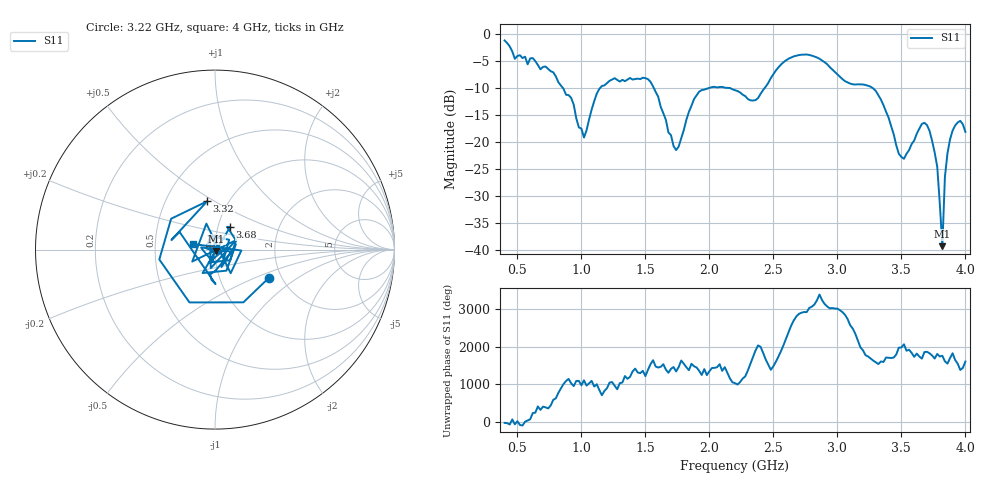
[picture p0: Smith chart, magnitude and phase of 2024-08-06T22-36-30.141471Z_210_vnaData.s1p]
!Created with skrf (http://scikit-rf.org).
# Hz S RI R 50.0
!freq ReS11 ImS11
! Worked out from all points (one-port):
!   181 points, 400 MHz to 4 GHz, reference 50 ohm
!   lowest |S11| = -39.3 dB at 3.82 GHz (marker M1), VSWR 1.02, Z = 50.8 - j0.744 ohm
!   |S11| at or under -10 dB: 857.1 MHz to 1.144 GHz (287.1 MHz wide, 28.7 % of centre); 1.567 GHz to 1.99 GHz (423.4 MHz wide, 23.8 % of centre); 3.278 GHz to end of sweep (the widest 3 of 4)
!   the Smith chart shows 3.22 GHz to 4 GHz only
!   S11 on the Smith chart (normalised r, x): 3.22 GHz: 1.72, -0.61; 3.32 GHz: 0.80, +0.46; 3.68 GHz: 1.14, +0.29; 4 GHz: 0.78, +0.05
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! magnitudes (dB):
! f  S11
! 400 MHz  -1.1
! 480 MHz  -4.5
! 620 MHz  -4.4
! 860 MHz  -10.1
! 1.02 GHz  -19.1
! 1.14 GHz  -10.1
! 1.3 GHz  -8.8
! 1.54 GHz  -8.8
! 1.72 GHz  -20.7
! 1.76 GHz  -20.8
! 1.92 GHz  -10.6
! 2.2 GHz  -10.3
! 2.36 GHz  -12.2
! 2.66 GHz  -4.1
! 2.84 GHz  -4.3
! 3.1 GHz  -9.1
! 3.22 GHz  -9.4
! 3.32 GHz  -11.3
! 3.48 GHz  -22.1
! 3.56 GHz  -21.5
! 3.68 GHz  -16.4
! 3.72 GHz  -17.9
! 3.78 GHz  -24.5
! 3.82 GHz  -39.3
! 3.84 GHz  -26.4
! 3.88 GHz  -19.5
! 3.96 GHz  -16.0
! 4 GHz  -18.1
